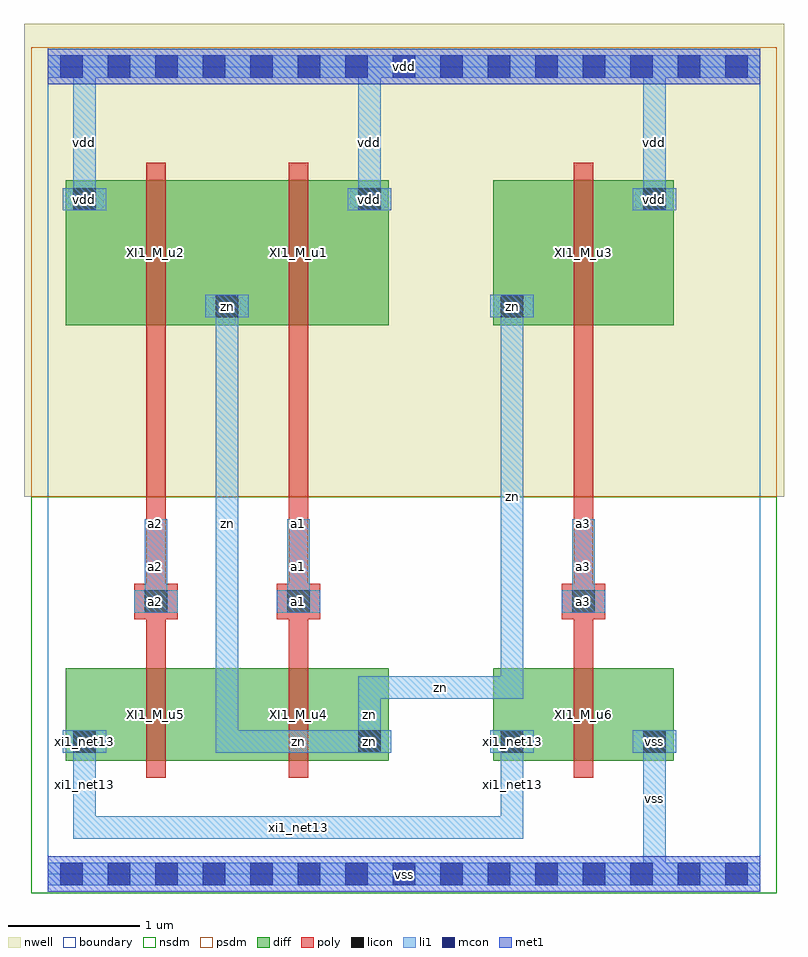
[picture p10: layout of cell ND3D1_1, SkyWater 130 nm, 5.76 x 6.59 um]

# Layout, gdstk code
import gdstk
lib = gdstk.Library(unit=1e-6, precision=1e-09)
def R(c, l, rs):  # rectangles x0, y0, x1, y1
    for r in rs: c.add(gdstk.rectangle(r[:2], r[2:], *l))
def A(c, l, x, y, w, h, nx, ny, dx, dy):  # array of equal rectangles
    R(c, l, [(x+i*dx, y+j*dy, x+i*dx+w, y+j*dy+h) for i in range(nx) for j in range(ny)])
L0_0 = (0, 0)
nwell = (64, 20)
diff = (65, 20)
poly = (66, 20)
licon = (66, 44)
li1 = (67, 20)
mcon = (67, 44)
met1 = (68, 20)
nsdm = (93, 44)
psdm = (94, 20)
boundary = (235, 4)

nd3d1_1 = lib.new_cell('ND3D1_1')
R(nd3d1_1, nwell, [(-0.18,2.86,5.58,6.445)])
A(nd3d1_1, diff, 2.295, 0.86, 0.29, 0.29, 3, 1, 1.08, 0)
A(nd3d1_1, diff, 0.135, 4.97, 0.29, 0.29, 3, 1, 2.16, 0)
R(nd3d1_1, diff, [(0.135,0.86,1.505,1.56), (0.135,0.86,0.425,1.15), (1.215,0.86,2.585,1.56), (3.375,0.86,4.745,1.56), (0.135,4.16,1.505,5.26), (1.215,4.16,2.585,5.26), (1.215,4.16,1.505,4.45), (3.375,4.16,4.745,5.26), (3.375,4.16,3.665,4.45)])
R(nd3d1_1, poly, [(0.745,0.73,0.895,1.69), (1.825,0.73,1.975,1.69), (3.985,0.73,4.135,1.69), (0.745,0.93,0.895,4.38), (1.825,0.93,1.975,4.38), (3.985,0.93,4.135,4.38), (0.655,1.93,0.985,2.2), (1.735,1.93,2.065,2.2), (3.895,1.93,4.225,2.2), (0.745,4.03,0.895,5.39), (1.825,4.03,1.975,5.39), (3.985,4.03,4.135,5.39)])
A(nd3d1_1, licon, 2.355, 0.92, 0.17, 0.17, 3, 1, 1.08, 0)
A(nd3d1_1, licon, 0.195, 5.03, 0.17, 0.17, 3, 1, 2.16, 0)
R(nd3d1_1, licon, [(0.195,0.92,0.365,1.09), (0.735,1.98,0.905,2.15), (1.815,1.98,1.985,2.15), (3.975,1.98,4.145,2.15), (1.275,4.22,1.445,4.39), (3.435,4.22,3.605,4.39)])
A(nd3d1_1, li1, 2.275, 0.92, 0.33, 0.17, 3, 1, 1.08, 0)
A(nd3d1_1, li1, 0.115, 5.03, 0.33, 0.17, 3, 1, 2.16, 0)
A(nd3d1_1, li1, 0.195, 5.03, 0.17, 1.03, 3, 1, 2.16, 0)
R(nd3d1_1, li1, [(0,-0.085,5.4,0.085), (4.515,0.06,4.685,1.09), (0.195,0.27,0.365,1.09), (0.195,0.27,3.605,0.44), (3.435,0.27,3.605,1.09), (0.115,0.92,0.445,1.09), (1.275,0.92,2.525,1.09), (1.275,0.92,1.445,4.39), (2.355,0.92,2.525,1.5), (2.355,1.33,3.605,1.5), (3.435,1.33,3.605,4.39), (0.655,1.98,0.985,2.15), (0.735,1.98,0.905,2.69), (1.735,1.98,2.065,2.15), (1.815,1.98,1.985,2.69), (3.895,1.98,4.225,2.15), (3.975,1.98,4.145,2.69), (1.195,4.22,1.525,4.39), (3.355,4.22,3.685,4.39), (0,6.035,5.4,6.205)])
A(nd3d1_1, mcon, 0.095, -0.085, 0.17, 0.17, 15, 2, 0.36, 6.12)
R(nd3d1_1, met1, [(0,-0.135,5.4,0.135), (0,5.985,5.4,6.255)])
R(nd3d1_1, nsdm, [(-0.125,-0.145,5.525,0.145), (-0.125,0.145,5.525,2.86)])
R(nd3d1_1, psdm, [(-0.125,2.86,5.525,5.975), (-0.125,5.975,5.525,6.265)])
R(nd3d1_1, boundary, [(0,0,5.4,6.12)])
nd3d1_1.add(gdstk.FlexPath([(0.115,0.355),(4.765,0.355)], 0, ends="flush", simple_path=True, layer=0, datatype=0))  # L0_0
nd3d1_1.add(gdstk.FlexPath([(0.115,1.005),(4.765,1.005)], 0, ends="flush", simple_path=True, layer=0, datatype=0))  # L0_0
nd3d1_1.add(gdstk.FlexPath([(0.115,1.415),(4.765,1.415)], 0, ends="flush", simple_path=True, layer=0, datatype=0))  # L0_0
nd3d1_1.add(gdstk.FlexPath([(0.115,2.065),(4.765,2.065)], 0, ends="flush", simple_path=True, layer=0, datatype=0))  # L0_0
nd3d1_1.add(gdstk.FlexPath([(0.115,2.605),(4.765,2.605)], 0, ends="flush", simple_path=True, layer=0, datatype=0))  # L0_0
nd3d1_1.add(gdstk.FlexPath([(0.115,3.145),(4.765,3.145)], 0, ends="flush", simple_path=True, layer=0, datatype=0))  # L0_0
nd3d1_1.add(gdstk.FlexPath([(0.115,4.305),(4.765,4.305)], 0, ends="flush", simple_path=True, layer=0, datatype=0))  # L0_0
nd3d1_1.add(gdstk.FlexPath([(0.115,4.775),(4.765,4.775)], 0, ends="flush", simple_path=True, layer=0, datatype=0))  # L0_0
nd3d1_1.add(gdstk.FlexPath([(0.115,5.115),(4.765,5.115)], 0, ends="flush", simple_path=True, layer=0, datatype=0))  # L0_0
nd3d1_1.add(gdstk.FlexPath([(0.115,5.765),(4.765,5.765)], 0, ends="flush", simple_path=True, layer=0, datatype=0))  # L0_0
nd3d1_1.add(gdstk.FlexPath([(0.28,0.06),(0.28,6.06)], 0, ends="flush", simple_path=True, layer=0, datatype=0))  # L0_0
nd3d1_1.add(gdstk.FlexPath([(0.82,0.06),(0.82,6.06)], 0, ends="flush", simple_path=True, layer=0, datatype=0))  # L0_0
nd3d1_1.add(gdstk.FlexPath([(1.36,0.06),(1.36,6.06)], 0, ends="flush", simple_path=True, layer=0, datatype=0))  # L0_0
nd3d1_1.add(gdstk.FlexPath([(1.9,0.06),(1.9,6.06)], 0, ends="flush", simple_path=True, layer=0, datatype=0))  # L0_0
nd3d1_1.add(gdstk.FlexPath([(2.44,0.06),(2.44,6.06)], 0, ends="flush", simple_path=True, layer=0, datatype=0))  # L0_0
nd3d1_1.add(gdstk.FlexPath([(2.98,0.06),(2.98,6.06)], 0, ends="flush", simple_path=True, layer=0, datatype=0))  # L0_0
nd3d1_1.add(gdstk.FlexPath([(3.52,0.06),(3.52,6.06)], 0, ends="flush", simple_path=True, layer=0, datatype=0))  # L0_0
nd3d1_1.add(gdstk.FlexPath([(4.06,0.06),(4.06,6.06)], 0, ends="flush", simple_path=True, layer=0, datatype=0))  # L0_0
nd3d1_1.add(gdstk.FlexPath([(4.6,0.06),(4.6,6.06)], 0, ends="flush", simple_path=True, layer=0, datatype=0))  # L0_0
nd3d1_1.add(gdstk.Label('XI1_M_u4', (1.9,1.21), layer=65, texttype=20))
nd3d1_1.add(gdstk.Label('XI1_M_u5', (0.82,1.21), layer=65, texttype=20))
nd3d1_1.add(gdstk.Label('XI1_M_u6', (4.06,1.21), layer=65, texttype=20))
nd3d1_1.add(gdstk.Label('XI1_M_u3', (4.06,4.71), layer=65, texttype=20))
nd3d1_1.add(gdstk.Label('XI1_M_u1', (1.9,4.71), layer=65, texttype=20))
nd3d1_1.add(gdstk.Label('XI1_M_u2', (0.82,4.71), layer=65, texttype=20))
nd3d1_1.add(gdstk.Label('zn', (2.44,1.005), layer=65, texttype=20))
nd3d1_1.add(gdstk.Label('zn', (3.52,4.305), layer=65, texttype=20))
nd3d1_1.add(gdstk.Label('zn', (1.36,4.305), layer=65, texttype=20))
nd3d1_1.add(gdstk.Label('xi1_net13', (0.28,1.005), layer=65, texttype=20))
nd3d1_1.add(gdstk.Label('xi1_net13', (3.52,1.005), layer=65, texttype=20))
nd3d1_1.add(gdstk.Label('vss', (4.6,1.005), layer=65, texttype=20))
nd3d1_1.add(gdstk.Label('vdd', (4.6,5.115), layer=65, texttype=20))
nd3d1_1.add(gdstk.Label('vdd', (2.44,5.115), layer=65, texttype=20))
nd3d1_1.add(gdstk.Label('vdd', (0.28,5.115), layer=65, texttype=20))
nd3d1_1.add(gdstk.Label('a1', (1.9,2.655), layer=66, texttype=20))
nd3d1_1.add(gdstk.Label('a1', (1.9,2.065), layer=66, texttype=20))
nd3d1_1.add(gdstk.Label('a2', (0.82,2.655), layer=66, texttype=20))
nd3d1_1.add(gdstk.Label('a2', (0.82,2.065), layer=66, texttype=20))
nd3d1_1.add(gdstk.Label('a3', (4.06,2.655), layer=66, texttype=20))
nd3d1_1.add(gdstk.Label('a3', (4.06,2.065), layer=66, texttype=20))
nd3d1_1.add(gdstk.Label('zn', (2.44,1.005), layer=66, texttype=44))
nd3d1_1.add(gdstk.Label('zn', (3.52,4.305), layer=66, texttype=44))
nd3d1_1.add(gdstk.Label('zn', (1.36,4.305), layer=66, texttype=44))
nd3d1_1.add(gdstk.Label('a1', (1.9,2.065), layer=66, texttype=44))
nd3d1_1.add(gdstk.Label('a2', (0.82,2.065), layer=66, texttype=44))
nd3d1_1.add(gdstk.Label('xi1_net13', (0.28,1.005), layer=66, texttype=44))
nd3d1_1.add(gdstk.Label('xi1_net13', (3.52,1.005), layer=66, texttype=44))
nd3d1_1.add(gdstk.Label('a3', (4.06,2.065), layer=66, texttype=44))
nd3d1_1.add(gdstk.Label('vss', (4.6,1.005), layer=66, texttype=44))
nd3d1_1.add(gdstk.Label('vdd', (4.6,5.115), layer=66, texttype=44))
nd3d1_1.add(gdstk.Label('vdd', (2.44,5.115), layer=66, texttype=44))
nd3d1_1.add(gdstk.Label('vdd', (0.28,5.115), layer=66, texttype=44))
nd3d1_1.add(gdstk.Label('zn', (2.44,1.005), layer=67, texttype=16))
nd3d1_1.add(gdstk.Label('zn', (3.52,4.305), layer=67, texttype=16))
nd3d1_1.add(gdstk.Label('zn', (1.36,4.305), layer=67, texttype=16))
nd3d1_1.add(gdstk.Label('zn', (1.9,1.005), layer=67, texttype=16))
nd3d1_1.add(gdstk.Label('zn', (1.36,2.655), layer=67, texttype=16))
nd3d1_1.add(gdstk.Label('zn', (3.52,2.86), layer=67, texttype=16))
nd3d1_1.add(gdstk.Label('zn', (2.98,1.415), layer=67, texttype=16))
nd3d1_1.add(gdstk.Label('zn', (2.44,1.21), layer=67, texttype=16))
nd3d1_1.add(gdstk.Label('a1', (1.9,2.065), layer=67, texttype=16))
nd3d1_1.add(gdstk.Label('a1', (1.9,2.335), layer=67, texttype=16))
nd3d1_1.add(gdstk.Label('a2', (0.82,2.065), layer=67, texttype=16))
nd3d1_1.add(gdstk.Label('a2', (0.82,2.335), layer=67, texttype=16))
nd3d1_1.add(gdstk.Label('xi1_net13', (0.28,1.005), layer=67, texttype=20))
nd3d1_1.add(gdstk.Label('xi1_net13', (3.52,1.005), layer=67, texttype=20))
nd3d1_1.add(gdstk.Label('xi1_net13', (0.28,0.68), layer=67, texttype=20))
nd3d1_1.add(gdstk.Label('xi1_net13', (1.9,0.355), layer=67, texttype=20))
nd3d1_1.add(gdstk.Label('xi1_net13', (3.52,0.68), layer=67, texttype=20))
nd3d1_1.add(gdstk.Label('a3', (4.06,2.065), layer=67, texttype=16))
nd3d1_1.add(gdstk.Label('a3', (4.06,2.335), layer=67, texttype=16))
nd3d1_1.add(gdstk.Label('vss', (4.6,1.005), layer=67, texttype=20))
nd3d1_1.add(gdstk.Label('vss', (4.6,0.575), layer=67, texttype=20))
nd3d1_1.add(gdstk.Label('vdd', (4.6,5.115), layer=67, texttype=20))
nd3d1_1.add(gdstk.Label('vdd', (4.6,5.545), layer=67, texttype=20))
nd3d1_1.add(gdstk.Label('vdd', (2.44,5.115), layer=67, texttype=20))
nd3d1_1.add(gdstk.Label('vdd', (2.44,5.545), layer=67, texttype=20))
nd3d1_1.add(gdstk.Label('vdd', (0.28,5.115), layer=67, texttype=20))
nd3d1_1.add(gdstk.Label('vdd', (0.28,5.545), layer=67, texttype=20))
nd3d1_1.add(gdstk.Label('vss', (2.7,0), layer=67, texttype=16))
nd3d1_1.add(gdstk.Label('vdd', (2.7,6.12), layer=67, texttype=16))
nd3d1_1.add(gdstk.Label('vss', (2.7,0), layer=68, texttype=16))
nd3d1_1.add(gdstk.Label('vdd', (2.7,6.12), layer=68, texttype=16))

lib.write_gds('ND3D1_1.gds')
